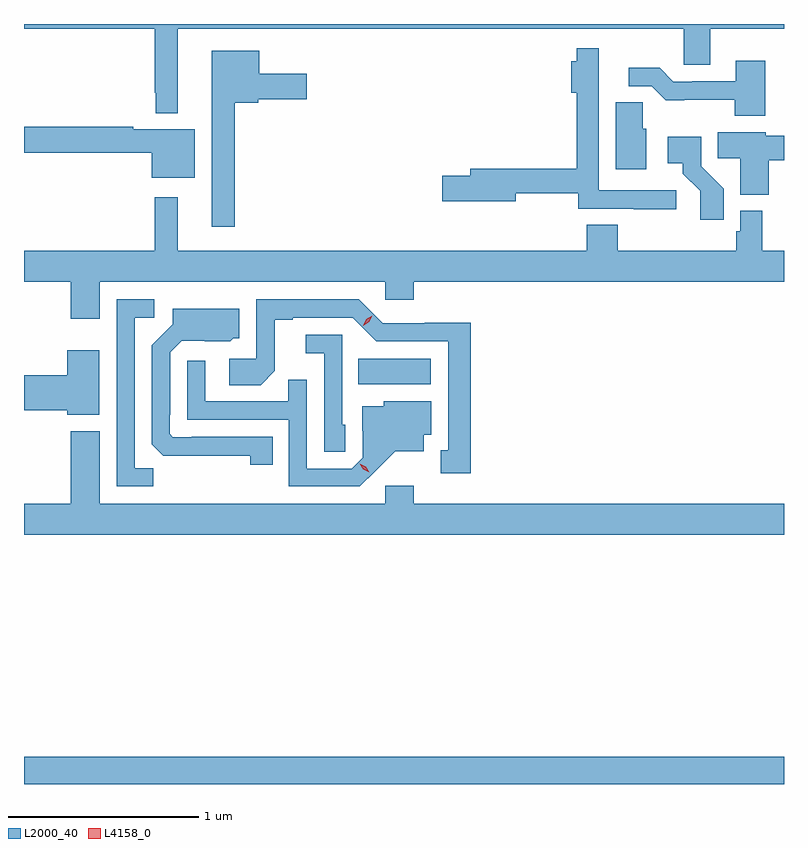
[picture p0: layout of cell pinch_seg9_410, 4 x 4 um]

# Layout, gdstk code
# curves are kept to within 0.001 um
import gdstk
lib = gdstk.Library(unit=1e-6, precision=1e-09)
def R(c, l, rs):  # rectangles x0, y0, x1, y1
    for r in rs: c.add(gdstk.rectangle(r[:2], r[2:], *l))
def P(c, l, *ps):  # polygons
    for p in ps: c.add(gdstk.Polygon(p, *l))
L2000_40 = (2000, 40)
L4158_0 = (4158, 0)

pinch_seg9_410 = lib.new_cell('pinch_seg9_410')
R(pinch_seg9_410, L2000_40, [(225.962,1227.077,229.962,1227.22), (227.722,1229.18,228.103,1229.314)])
P(pinch_seg9_410, L2000_40, [(226.771,1231.052),(229.434,1231.052),(229.434,1230.862),(229.573,1230.862),(229.573,1231.052),(229.962,1231.052),(229.962,1231.077),(225.962,1231.077),(225.962,1231.052),(226.65,1231.052),(226.65,1230.715),(226.656,1230.715),(226.656,1230.608),(226.771,1230.608)],
  [(229.396,1230.201),(228.987,1230.201),(228.987,1230.726),(228.988,1230.726),(228.988,1230.949),(228.871,1230.949),(228.871,1230.88),(228.842,1230.88),(228.842,1230.715),(228.871,1230.715),(228.871,1230.314),(228.311,1230.314),(228.311,1230.278),(228.162,1230.278),(228.162,1230.143),(228.55,1230.143),(228.55,1230.186),(228.879,1230.186),(228.879,1230.105),(229.171,1230.105),(229.171,1230.103),(229.396,1230.103)],
  [(227.071,1230.662),(227.196,1230.662),(227.196,1230.68),(227.449,1230.68),(227.449,1230.814),(227.2,1230.814),(227.2,1230.937),(226.949,1230.937),(226.949,1230.009),(227.071,1230.009)],
  [(229.862,1230.883),(229.709,1230.883),(229.709,1230.777),(229.48,1230.777),(229.48,1230.774),(229.38,1230.774),(229.307,1230.847),(229.146,1230.847),(229.146,1230.75),(229.266,1230.75),(229.339,1230.677),(229.702,1230.678),(229.702,1230.593),(229.862,1230.593)],
  [(229.237,1230.525),(229.218,1230.525),(229.218,1230.665),(229.076,1230.665),(229.076,1230.312),(229.237,1230.312)],
  [(226.861,1230.523),(226.538,1230.523),(226.538,1230.536),(225.962,1230.536),(225.962,1230.4),(226.634,1230.4),(226.634,1230.269),(226.861,1230.269)],
  [(229.883,1230.361),(229.962,1230.361),(229.962,1230.49),(229.866,1230.49),(229.866,1230.508),(229.612,1230.508),(229.612,1230.37),(229.733,1230.37),(229.733,1230.179),(229.883,1230.179)],
  [(229.646,1230.21),(229.527,1230.329),(229.527,1230.484),(229.35,1230.484),(229.35,1230.344),(229.43,1230.344),(229.43,1230.289),(229.521,1230.199),(229.521,1230.048),(229.646,1230.048)],
  [(226.36,1229.72),(227.862,1229.72),(227.862,1229.627),(228.014,1229.627),(228.014,1229.72),(229.962,1229.72),(229.962,1229.884),(229.847,1229.884),(229.847,1230.094),(229.731,1230.094),(229.731,1229.985),(229.711,1229.985),(229.711,1229.884),(229.088,1229.884),(229.088,1230.02),(228.923,1230.02),(228.923,1229.884),(226.771,1229.884),(226.771,1230.166),(226.65,1230.166),(226.65,1229.884),(225.962,1229.884),(225.962,1229.72),(226.208,1229.72),(226.208,1229.526),(226.36,1229.526)],
  [(228.313,1229.504),(228.072,1229.504),(228.072,1229.502),(227.85,1229.502),(227.724,1229.628),(227.184,1229.628),(227.184,1229.316),(227.043,1229.316),(227.043,1229.176),(227.207,1229.176),(227.283,1229.252),(227.283,1229.52),(227.377,1229.52),(227.377,1229.532),(227.691,1229.532),(227.817,1229.406),(228.194,1229.406),(228.194,1228.833),(228.155,1228.833),(228.155,1228.713),(228.313,1228.713)],
  [(226.641,1228.739),(226.545,1228.739),(226.545,1229.532),(226.648,1229.532),(226.648,1229.628),(226.449,1229.628),(226.449,1228.644),(226.641,1228.644)],
  [(227.27,1228.905),(226.846,1228.905),(226.846,1228.902),(226.746,1228.902),(226.728,1228.92),(226.728,1229.02),(226.731,1229.02),(226.731,1229.349),(226.791,1229.409),(227.048,1229.408),(227.064,1229.424),(227.095,1229.424),(227.095,1229.578),(226.745,1229.578),(226.745,1229.496),(226.635,1229.386),(226.635,1228.864),(226.694,1228.805),(227.152,1228.804),(227.152,1228.758),(227.27,1228.758)],
  [(227.652,1228.968),(227.637,1228.968),(227.637,1229.442),(227.445,1229.442),(227.445,1229.345),(227.541,1229.345),(227.541,1228.825),(227.652,1228.825)],
  [(226.357,1229.359),(226.19,1229.359),(226.19,1229.228),(225.962,1229.228),(225.962,1229.045),(226.19,1229.045),(226.19,1229.021),(226.357,1229.021)],
  [(227.812,1228.727),(227.915,1228.829),(228.067,1228.829),(228.067,1228.916),(228.106,1228.916),(228.106,1229.092),(227.856,1229.092),(227.856,1229.065),(227.741,1229.065),(227.741,1228.936),(227.745,1228.936),(227.745,1228.794),(227.688,1228.737),(227.451,1228.737),(227.451,1229.204),(227.353,1229.204),(227.353,1229.091),(226.917,1229.091),(226.917,1229.305),(226.821,1229.305),(226.821,1228.995),(227.355,1228.995),(227.355,1228.644),(227.728,1228.644)],
  [(229.962,1228.552),(228.014,1228.552),(228.014,1228.648),(227.862,1228.648),(227.862,1228.552),(226.36,1228.552),(226.36,1228.933),(226.208,1228.933),(226.208,1228.552),(225.962,1228.552),(225.962,1228.388),(229.962,1228.388)])
P(pinch_seg9_410, L4158_0, [(227.747,1229.49),(227.747,1229.49),(227.764,1229.523),(227.795,1229.542),(227.795,1229.542),(227.795,1229.542),(227.778,1229.509),(227.747,1229.49)],
  [(227.778,1228.718),(227.747,1228.733),(227.73,1228.762),(227.73,1228.762),(227.73,1228.762),(227.761,1228.748),(227.779,1228.718),(227.779,1228.718)])

lib.write_gds('pinch_seg9_410.gds')
